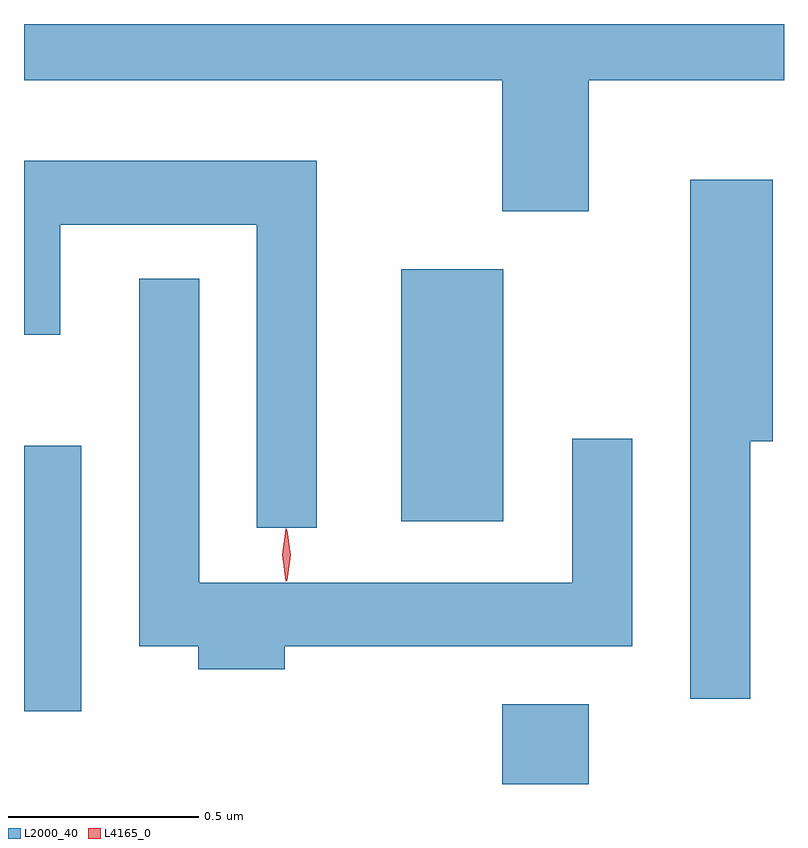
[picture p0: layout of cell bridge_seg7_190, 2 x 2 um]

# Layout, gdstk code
import gdstk
lib = gdstk.Library(unit=1e-6, precision=1e-09)
def R(c, l, rs):  # rectangles x0, y0, x1, y1
    for r in rs: c.add(gdstk.rectangle(r[:2], r[2:], *l))
def P(c, l, *ps):  # polygons
    for p in ps: c.add(gdstk.Polygon(p, *l))
L2000_40 = (2000, 40)
L4165_0 = (4165, 0)

bridge_seg7_190 = lib.new_cell('bridge_seg7_190')
R(bridge_seg7_190, L2000_40, [(1506.081,1703.584,1506.309,1703.794), (1504.823,1703.776,1504.974,1704.474), (1505.816,1704.276,1506.084,1704.939)])
P(bridge_seg7_190, L2000_40, [(1506.309,1705.436),(1506.823,1705.436),(1506.823,1705.584),(1504.823,1705.584),(1504.823,1705.436),(1506.081,1705.436),(1506.081,1705.091),(1506.309,1705.091)],
  [(1505.594,1705.224),(1504.823,1705.224),(1504.823,1704.766),(1504.919,1704.766),(1504.919,1705.056),(1505.436,1705.056),(1505.436,1704.258),(1505.594,1704.258)],
  [(1506.734,1704.486),(1506.794,1704.486),(1506.794,1705.174),(1506.576,1705.174),(1506.576,1703.808),(1506.734,1703.808)],
  [(1505.509,1703.946),(1506.424,1703.946),(1506.424,1704.493),(1506.266,1704.493),(1506.266,1704.114),(1505.284,1704.114),(1505.284,1704.913),(1505.126,1704.913),(1505.126,1703.946),(1505.281,1703.946),(1505.281,1703.886),(1505.509,1703.886)])
P(bridge_seg7_190, L4165_0, [(1505.515,1704.119),(1505.515,1704.12),(1505.505,1704.186),(1505.515,1704.252),(1505.515,1704.253),(1505.516,1704.252),(1505.525,1704.186),(1505.516,1704.12)],
  [(1505.512,1704.117),(1505.503,1704.187),(1505.512,1704.256),(1505.513,1704.256),(1505.513,1704.256),(1505.523,1704.187),(1505.513,1704.117),(1505.513,1704.117)])

lib.write_gds('bridge_seg7_190.gds')
